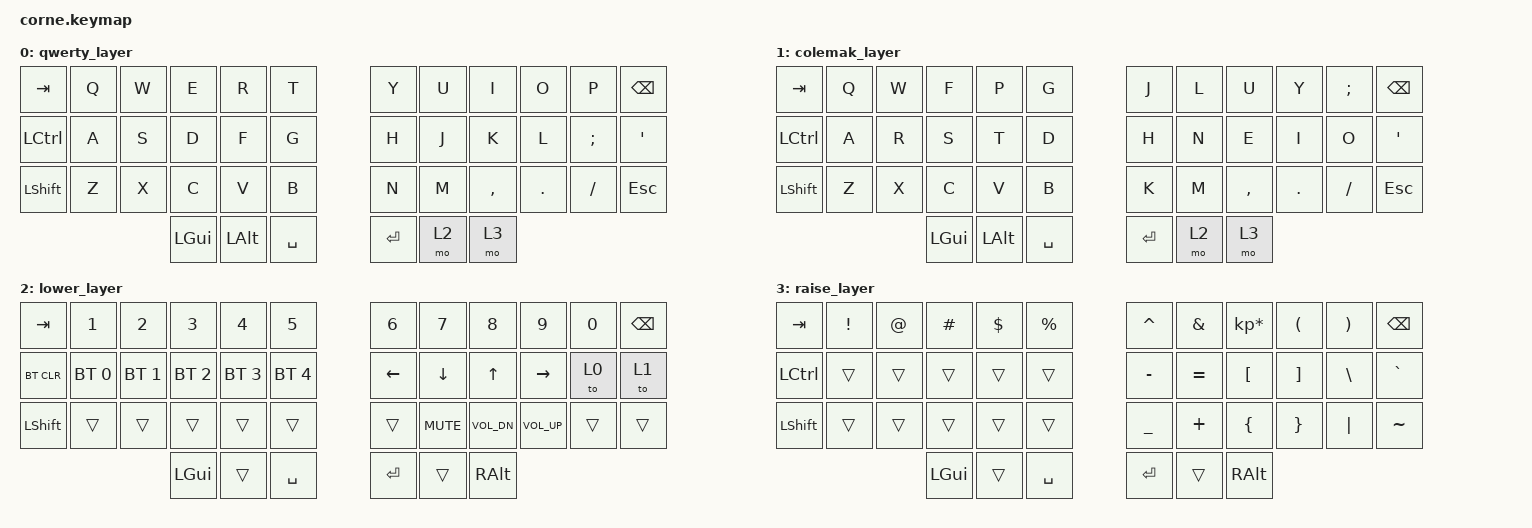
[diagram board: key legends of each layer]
/*
 * Copyright (c) 2020 The ZMK Contributors
 *
 * SPDX-License-Identifier: MIT
 */
#include <behaviors.dtsi>
#include <dt-bindings/zmk/keys.h>
#include <dt-bindings/zmk/bt.h>

/ {
    keymap {
        compatible = "zmk,keymap";
        
        qwerty_layer { // Layer 0
// -----------------------------------------------------------------------------------------
// |  TAB |  Q  |  W  |  E  |  R  |  T  |   |  Y  |  U   |  I  |  O  |  P  | BSPC |
// | CTRL |  A  |  S  |  D  |  F  |  G  |   |  H  |  J   |  K  |  L  |  ;  |  '   |
// | SHFT |  Z  |  X  |  C  |  V  |  B  |   |  N  |  M   |  ,  |  .  |  /  | ESC  |
//                    | GUI | ALT | SPC |   | ENT | LWR  | RSE |
            bindings = <
   &kp TAB   &kp Q &kp W &kp E &kp R &kp T   &kp Y &kp U  &kp I     &kp O   &kp P    &kp BSPC
   &kp LCTRL &kp A &kp S &kp D &kp F &kp G   &kp H &kp J  &kp K     &kp L   &kp SEMI &kp SQT
   &kp LSHFT &kp Z &kp X &kp C &kp V &kp B   &kp N &kp M  &kp COMMA &kp DOT &kp FSLH &kp ESC
                  &kp LGUI &kp LALT &kp SPACE   &kp RET &mo 2 &mo 3 
            >;
        };

        colemak_layer { // Layer 1
// -----------------------------------------------------------------------------------------
// |  TAB |  Q  |  W  |  F  |  P  |  G  |   |  J  |  L   |  U  |  Y  |  ;  | BSPC |
// | CTRL |  A  |  R  |  S  |  T  |  D  |   |  H  |  N   |  E  |  I  |  O  |  '   |
// | SHFT |  Z  |  X  |  C  |  V  |  B  |   |  K  |  M   |  ,  |  .  |  /  | ESC  |
//                    | GUI | ALT | SPC |   | ENT | LWR  | RSE |
            bindings = <
   &kp TAB   &kp Q &kp W &kp F &kp P &kp G   &kp J &kp L  &kp U     &kp Y   &kp SEMI &kp BSPC
   &kp LCTRL &kp A &kp R &kp S &kp T &kp D   &kp H &kp N  &kp E     &kp I   &kp O    &kp SQT
   &kp LSHFT &kp Z &kp X &kp C &kp V &kp B   &kp K &kp M  &kp COMMA &kp DOT &kp FSLH &kp ESC
                  &kp LGUI &kp LALT &kp SPACE   &kp RET &mo 2 &mo 3 
            >;
        };

        lower_layer { // Layer 2
// -----------------------------------------------------------------------------------------
// |  TAB |  1  |  2  |  3  |  4  |  5  |   |  6  |  7  |  8  |  9  |  0  | BSPC |
// | BTCLR| BT1 | BT2 | BT3 | BT4 | BT5 |   | LFT | DWN |  UP | RGT |&to 0|&to 1 |
// | SHFT |     |     |     |     |     |   |     | MUTE|VOLDN|VOLUP|     |      |
//                    | GUI |     | SPC |   | ENT |     | ALT |
            bindings = <
   &kp TAB    &kp N1       &kp N2       &kp N3       &kp N4       &kp N5         &kp N6   &kp N7        &kp N8        &kp N9        &kp N0 &kp BSPC
   &bt BT_CLR &bt BT_SEL 0 &bt BT_SEL 1 &bt BT_SEL 2 &bt BT_SEL 3 &bt BT_SEL 4   &kp LEFT &kp DOWN      &kp UP        &kp RIGHT     &to 0  &to 1
   &kp LSHFT  &trans       &trans       &trans       &trans       &trans         &trans   &kp C_MUTE    &kp C_VOL_DN  &kp C_VOL_UP  &trans &trans
                                        &kp LGUI     &trans       &kp SPACE      &kp RET  &trans        &kp RALT
            >;
        };

        raise_layer { // Layer 3
// -----------------------------------------------------------------------------------------
// |  TAB |  !  |  @  |  #  |  $  |  %  |   |  ^  |  &  |  *  |  (  |  )  | BSPC |
// | CTRL |     |     |     |     |     |   |  -  |  =  |  [  |  ]  |  \  |  `   |
// | SHFT |     |     |     |     |     |   |  _  |  +  |  {  |  }  | "|" |  ~   |
//                    | GUI |     | SPC |   | ENT |     | ALT |
            bindings = <
   &kp TAB   &kp EXCL &kp AT &kp HASH &kp DLLR &kp PRCNT   &kp CARET &kp AMPS  &kp KP_MULTIPLY &kp LPAR &kp RPAR &kp BSPC
   &kp LCTRL &trans   &trans &trans   &trans   &trans      &kp MINUS &kp EQUAL &kp LBKT        &kp RBKT &kp BSLH &kp GRAVE
   &kp LSHFT &trans   &trans &trans   &trans   &trans      &kp UNDER &kp PLUS  &kp LBRC        &kp RBRC &kp PIPE &kp TILDE
                             &kp LGUI &trans   &kp SPACE   &kp RET   &trans    &kp RALT
            >;
        };
    };
};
